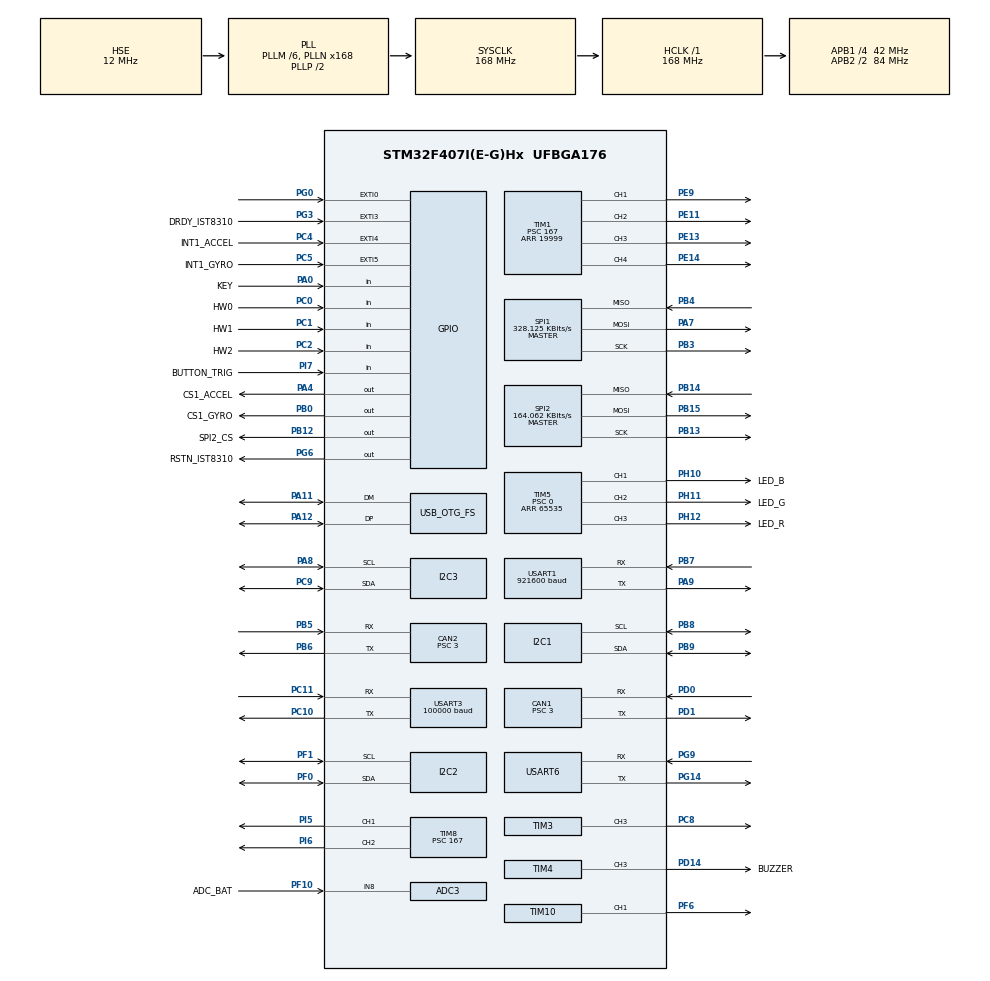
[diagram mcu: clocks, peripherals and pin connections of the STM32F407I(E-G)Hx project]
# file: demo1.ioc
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ADC1.Channel-0\#ChannelRegularConversion=ADC_CHANNEL_TEMPSENSOR
ADC1.ClockPrescaler=ADC_CLOCK_SYNC_PCLK_DIV6
ADC1.NbrOfConversionFlag=1
ADC1.Rank-0\#ChannelRegularConversion=1
ADC1.SamplingTime-0\#ChannelRegularConversion=ADC_SAMPLETIME_3CYCLES
ADC1.master=1
ADC3.Channel-0\#ChannelRegularConversion=ADC_CHANNEL_8
ADC3.ClockPrescaler=ADC_CLOCK_SYNC_PCLK_DIV6
ADC3.NbrOfConversionFlag=1
ADC3.Rank-0\#ChannelRegularConversion=1
ADC3.SamplingTime-0\#ChannelRegularConversion=ADC_SAMPLETIME_3CYCLES
CAN1.BS1=CAN_BS1_10TQ
CAN1.BS2=CAN_BS2_3TQ
CAN1.CalculateBaudRate=1000000
CAN1.CalculateTimeQuantum=71.42857142857143
CAN1.Prescaler=3
CAN2.BS1=CAN_BS1_10TQ
CAN2.BS2=CAN_BS2_3TQ
CAN2.CalculateBaudRate=1000000
CAN2.CalculateTimeQuantum=71.42857142857143
CAN2.Prescaler=3
Dma.I2C2_TX.2.Direction=DMA_MEMORY_TO_PERIPH
Dma.I2C2_TX.2.FIFOMode=DMA_FIFOMODE_DISABLE
Dma.I2C2_TX.2.Instance=DMA1_Stream7
Dma.I2C2_TX.2.MemDataAlignment=DMA_MDATAALIGN_BYTE
Dma.I2C2_TX.2.MemInc=DMA_MINC_ENABLE
Dma.I2C2_TX.2.Mode=DMA_NORMAL
Dma.I2C2_TX.2.PeriphDataAlignment=DMA_PDATAALIGN_BYTE
Dma.I2C2_TX.2.PeriphInc=DMA_PINC_DISABLE
Dma.I2C2_TX.2.Priority=DMA_PRIORITY_HIGH
Dma.Request0=SPI1_RX
Dma.Request1=SPI1_TX
Dma.Request2=I2C2_TX
Dma.Request3=USART3_RX
Dma.Request4=USART6_RX
Dma.Request5=USART6_TX
Dma.Request6=USART1_TX
Dma.Request7=USART1_RX
Dma.SPI1_RX.0.Direction=DMA_PERIPH_TO_MEMORY
Dma.SPI1_RX.0.FIFOMode=DMA_FIFOMODE_DISABLE
Dma.SPI1_RX.0.Instance=DMA2_Stream0
Dma.SPI1_RX.0.MemDataAlignment=DMA_MDATAALIGN_BYTE
Dma.SPI1_RX.0.MemInc=DMA_MINC_ENABLE
Dma.SPI1_RX.0.Mode=DMA_NORMAL
Dma.SPI1_RX.0.PeriphDataAlignment=DMA_PDATAALIGN_BYTE
Dma.SPI1_RX.0.PeriphInc=DMA_PINC_DISABLE
Dma.SPI1_RX.0.Priority=DMA_PRIORITY_VERY_HIGH
Dma.SPI1_TX.1.Direction=DMA_MEMORY_TO_PERIPH
Dma.SPI1_TX.1.FIFOMode=DMA_FIFOMODE_DISABLE
Dma.SPI1_TX.1.Instance=DMA2_Stream3
Dma.SPI1_TX.1.MemDataAlignment=DMA_MDATAALIGN_BYTE
Dma.SPI1_TX.1.MemInc=DMA_MINC_ENABLE
Dma.SPI1_TX.1.Mode=DMA_NORMAL
Dma.SPI1_TX.1.PeriphDataAlignment=DMA_PDATAALIGN_BYTE
Dma.SPI1_TX.1.PeriphInc=DMA_PINC_DISABLE
Dma.SPI1_TX.1.Priority=DMA_PRIORITY_HIGH
Dma.USART1_RX.7.Direction=DMA_PERIPH_TO_MEMORY
Dma.USART1_RX.7.FIFOMode=DMA_FIFOMODE_DISABLE
Dma.USART1_RX.7.Instance=DMA2_Stream2
Dma.USART1_RX.7.MemDataAlignment=DMA_MDATAALIGN_BYTE
Dma.USART1_RX.7.MemInc=DMA_MINC_ENABLE
Dma.USART1_RX.7.Mode=DMA_NORMAL
Dma.USART1_RX.7.PeriphDataAlignment=DMA_PDATAALIGN_BYTE
Dma.USART1_RX.7.PeriphInc=DMA_PINC_DISABLE
Dma.USART1_RX.7.Priority=DMA_PRIORITY_VERY_HIGH
Dma.USART1_TX.6.Direction=DMA_MEMORY_TO_PERIPH
Dma.USART1_TX.6.FIFOMode=DMA_FIFOMODE_DISABLE
Dma.USART1_TX.6.Instance=DMA2_Stream7
Dma.USART1_TX.6.MemDataAlignment=DMA_MDATAALIGN_BYTE
Dma.USART1_TX.6.MemInc=DMA_MINC_ENABLE
Dma.USART1_TX.6.Mode=DMA_NORMAL
Dma.USART1_TX.6.PeriphDataAlignment=DMA_PDATAALIGN_BYTE
Dma.USART1_TX.6.PeriphInc=DMA_PINC_DISABLE
Dma.USART1_TX.6.Priority=DMA_PRIORITY_MEDIUM
Dma.USART3_RX.3.Direction=DMA_PERIPH_TO_MEMORY
Dma.USART3_RX.3.FIFOMode=DMA_FIFOMODE_DISABLE
Dma.USART3_RX.3.Instance=DMA1_Stream1
Dma.USART3_RX.3.MemDataAlignment=DMA_MDATAALIGN_BYTE
Dma.USART3_RX.3.MemInc=DMA_MINC_ENABLE
Dma.USART3_RX.3.Mode=DMA_NORMAL
Dma.USART3_RX.3.PeriphDataAlignment=DMA_PDATAALIGN_BYTE
Dma.USART3_RX.3.PeriphInc=DMA_PINC_DISABLE
Dma.USART3_RX.3.Priority=DMA_PRIORITY_HIGH
Dma.USART6_RX.4.Direction=DMA_PERIPH_TO_MEMORY
Dma.USART6_RX.4.FIFOMode=DMA_FIFOMODE_DISABLE
Dma.USART6_RX.4.Instance=DMA2_Stream1
Dma.USART6_RX.4.MemDataAlignment=DMA_MDATAALIGN_BYTE
Dma.USART6_RX.4.MemInc=DMA_MINC_ENABLE
Dma.USART6_RX.4.Mode=DMA_NORMAL
Dma.USART6_RX.4.PeriphDataAlignment=DMA_PDATAALIGN_BYTE
Dma.USART6_RX.4.PeriphInc=DMA_PINC_DISABLE
Dma.USART6_RX.4.Priority=DMA_PRIORITY_HIGH
Dma.USART6_TX.5.Direction=DMA_MEMORY_TO_PERIPH
Dma.USART6_TX.5.FIFOMode=DMA_FIFOMODE_DISABLE
Dma.USART6_TX.5.Instance=DMA2_Stream6
Dma.USART6_TX.5.MemDataAlignment=DMA_MDATAALIGN_BYTE
Dma.USART6_TX.5.MemInc=DMA_MINC_ENABLE
Dma.USART6_TX.5.Mode=DMA_NORMAL
Dma.USART6_TX.5.PeriphDataAlignment=DMA_PDATAALIGN_BYTE
Dma.USART6_TX.5.PeriphInc=DMA_PINC_DISABLE
Dma.USART6_TX.5.Priority=DMA_PRIORITY_MEDIUM
FREERTOS.INCLUDE_eTaskGetState=1
FREERTOS.INCLUDE_pcTaskGetTaskName=1
FREERTOS.INCLUDE_uxTaskGetStackHighWaterMark=1
FREERTOS.INCLUDE_vTaskCleanUpResources=1
FREERTOS.INCLUDE_vTaskDelayUntil=1
FREERTOS.INCLUDE_xEventGroupSetBitFromISR=1
FREERTOS.INCLUDE_xQueueGetMutexHolder=1
FREERTOS.INCLUDE_xSemaphoreGetMutexHolder=1
FREERTOS.INCLUDE_xTaskAbortDelay=1
FREERTOS.INCLUDE_xTaskGetCurrentTaskHandle=1
FREERTOS.INCLUDE_xTaskGetHandle=1
FREERTOS.INCLUDE_xTimerPendFunctionCall=1
FREERTOS.Tasks01=test,24,128,test_task,As weak,NULL,Dynamic,NULL,NULL
FREERTOS.configTOTAL_HEAP_SIZE=24576
I2C1.I2C_Mode=I2C_Fast
I2C2.I2C_Mode=I2C_Fast
I2C3.I2C_Mode=I2C_Fast
Mcu.Family=STM32F4
Mcu.Name=STM32F407I(E-G)Hx
Mcu.Package=UFBGA176
NVIC.CAN1_RX0_IRQn=true\:6\:0\:true\:false\:true\:true\:true\:true\:true
NVIC.CAN2_RX0_IRQn=true\:6\:0\:true\:false\:true\:true\:true\:true\:true
NVIC.DMA1_Stream1_IRQn=true\:5\:0\:true\:false\:false\:true\:false\:false\:true
NVIC.DMA1_Stream7_IRQn=true\:5\:0\:true\:false\:false\:true\:false\:true\:true
NVIC.DMA2_Stream0_IRQn=true\:5\:0\:false\:false\:true\:true\:false\:true\:true
NVIC.DMA2_Stream1_IRQn=true\:5\:0\:false\:false\:true\:false\:false\:true\:true
NVIC.DMA2_Stream2_IRQn=true\:5\:0\:false\:false\:true\:true\:false\:true\:true
NVIC.DMA2_Stream3_IRQn=true\:5\:0\:true\:false\:false\:true\:false\:true\:true
NVIC.DMA2_Stream6_IRQn=true\:5\:0\:true\:false\:true\:true\:false\:true\:true
NVIC.DMA2_Stream7_IRQn=true\:5\:0\:true\:false\:true\:true\:false\:true\:true
NVIC.EXTI0_IRQn=true\:6\:0\:true\:false\:true\:true\:true\:true\:true
NVIC.EXTI3_IRQn=true\:5\:0\:true\:false\:true\:true\:true\:true\:true
NVIC.EXTI4_IRQn=true\:5\:0\:true\:false\:true\:true\:true\:true\:true
NVIC.EXTI9_5_IRQn=true\:5\:0\:true\:false\:true\:true\:true\:true\:true
NVIC.OTG_FS_IRQn=true\:5\:0\:false\:false\:true\:true\:false\:true\:true
NVIC.PriorityGroup=NVIC_PRIORITYGROUP_4
NVIC.USART1_IRQn=true\:5\:0\:false\:false\:true\:true\:true\:true\:true
NVIC.USART3_IRQn=true\:4\:0\:true\:false\:false\:false\:true\:true\:true
NVIC.USART6_IRQn=true\:5\:0\:true\:false\:false\:true\:true\:true\:true
PA0-WKUP.GPIO_Label=KEY
PA0-WKUP.GPIO_PuPd=GPIO_PULLUP
PA0-WKUP.Signal=GPIO_Input
PA11.Mode=Device_Only
PA11.Signal=USB_OTG_FS_DM
PA12.Mode=Device_Only
PA12.Signal=USB_OTG_FS_DP
PA13.Mode=Serial_Wire
PA13.Signal=SYS_JTMS-SWDIO
PA14.Mode=Serial_Wire
PA14.Signal=SYS_JTCK-SWCLK
PA4.GPIO_Label=CS1_ACCEL
PA4.GPIO_PuPd=GPIO_PULLUP
PA4.GPIO_Speed=GPIO_SPEED_FREQ_HIGH
PA4.PinState=GPIO_PIN_SET
PA4.Signal=GPIO_Output
PA7.GPIO_PuPd=GPIO_PULLUP
PA7.Mode=Full_Duplex_Master
PA7.Signal=SPI1_MOSI
PA8.GPIO_Pu=GPIO_PULLUP
PA8.Mode=I2C
PA8.Signal=I2C3_SCL
PA9.Mode=Asynchronous
PA9.Signal=USART1_TX
PB0.GPIO_Label=CS1_GYRO
PB0.GPIO_PuPd=GPIO_PULLUP
PB0.GPIO_Speed=GPIO_SPEED_FREQ_HIGH
PB0.PinState=GPIO_PIN_SET
PB0.Signal=GPIO_Output
PB12.GPIO_Label=SPI2_CS
PB12.GPIO_PuPd=GPIO_PULLUP
PB12.GPIO_Speed=GPIO_SPEED_FREQ_MEDIUM
PB12.PinState=GPIO_PIN_SET
PB12.Signal=GPIO_Output
PB13.GPIO_PuPd=GPIO_PULLUP
PB13.Mode=Full_Duplex_Master
PB13.Signal=SPI2_SCK
PB14.GPIO_PuPd=GPIO_PULLUP
PB14.Mode=Full_Duplex_Master
PB14.Signal=SPI2_MISO
PB15.GPIO_PuPd=GPIO_PULLUP
PB15.Mode=Full_Duplex_Master
PB15.Signal=SPI2_MOSI
PB3.GPIO_PuPd=GPIO_PULLUP
PB3.Mode=Full_Duplex_Master
PB3.Signal=SPI1_SCK
PB4.GPIO_PuPd=GPIO_PULLUP
PB4.Mode=Full_Duplex_Master
PB4.Signal=SPI1_MISO
PB5.Mode=CAN_Activate
PB5.Signal=CAN2_RX
PB6.Mode=CAN_Activate
PB6.Signal=CAN2_TX
PB7.Mode=Asynchronous
PB7.Signal=USART1_RX
PB8.GPIO_Pu=GPIO_PULLUP
PB8.Mode=I2C
PB8.Signal=I2C1_SCL
PB9.GPIO_Pu=GPIO_PULLUP
PB9.Mode=I2C
PB9.Signal=I2C1_SDA
PC0.GPIO_Label=HW0
PC0.Signal=GPIO_Input
PC1.GPIO_Label=HW1
PC1.Signal=GPIO_Input
PC10.Mode=Asynchronous
PC10.Signal=USART3_TX
PC11.Mode=Asynchronous
PC11.Signal=USART3_RX
PC2.GPIO_Label=HW2
PC2.Signal=GPIO_Input
PC4.GPIO_Label=INT1_ACCEL
PC4.GPIO_ModeDefaultEXTI=GPIO_MODE_IT_FALLING
PC4.GPIO_PuPd=GPIO_PULLUP
PC4.Signal=GPXTI4
PC5.GPIO_Label=INT1_GYRO
PC5.GPIO_ModeDefaultEXTI=GPIO_MODE_IT_FALLING
PC5.GPIO_PuPd=GPIO_PULLUP
PC5.Signal=GPXTI5
PC8.GPIO_PuPd=GPIO_PULLUP
PC8.GPIO_Speed=GPIO_SPEED_FREQ_HIGH
PC8.Signal=S_TIM3_CH3
PC9.GPIO_Pu=GPIO_PULLUP
PC9.Mode=I2C
PC9.Signal=I2C3_SDA
PD0.Mode=CAN_Activate
PD0.Signal=CAN1_RX
PD1.Mode=CAN_Activate
PD1.Signal=CAN1_TX
PD14.GPIO_Label=BUZZER
PD14.GPIO_PuPd=GPIO_PULLUP
PD14.GPIO_Speed=GPIO_SPEED_FREQ_VERY_HIGH
PD14.Signal=S_TIM4_CH3
PE11.GPIO_PuPd=GPIO_PULLUP
PE11.GPIO_Speed=GPIO_SPEED_FREQ_HIGH
PE11.Signal=S_TIM1_CH2
PE13.GPIO_PuPd=GPIO_PULLUP
PE13.GPIO_Speed=GPIO_SPEED_FREQ_HIGH
PE13.Signal=S_TIM1_CH3
PE14.GPIO_PuPd=GPIO_PULLUP
PE14.GPIO_Speed=GPIO_SPEED_FREQ_HIGH
PE14.Signal=S_TIM1_CH4
PE9.GPIO_PuPd=GPIO_PULLUP
PE9.GPIO_Speed=GPIO_SPEED_FREQ_HIGH
PE9.Signal=S_TIM1_CH1
PF0.GPIO_Pu=GPIO_PULLUP
PF0.Mode=I2C
PF0.Signal=I2C2_SDA
PF1.GPIO_Pu=GPIO_PULLUP
PF1.Mode=I2C
PF1.Signal=I2C2_SCL
PF10.GPIO_Label=ADC_BAT
PF10.Mode=IN8
PF10.Signal=ADC3_IN8
PF6.GPIO_PuPd=GPIO_PULLUP
PF6.GPIO_Speed=GPIO_SPEED_FREQ_HIGH
PF6.Signal=S_TIM10_CH1
PG0.GPIO_ModeDefaultEXTI=GPIO_MODE_IT_FALLING
PG0.GPIO_PuPd=GPIO_PULLUP
PG0.Signal=GPXTI0
PG14.Mode=Asynchronous
PG14.Signal=USART6_TX
PG3.GPIO_Label=DRDY_IST8310
PG3.GPIO_ModeDefaultEXTI=GPIO_MODE_IT_FALLING
PG3.GPIO_PuPd=GPIO_PULLUP
PG3.Signal=GPXTI3
PG6.GPIO_Label=RSTN_IST8310
PG6.GPIO_PuPd=GPIO_PULLUP
PG6.GPIO_Speed=GPIO_SPEED_FREQ_MEDIUM
PG6.PinState=GPIO_PIN_SET
PG6.Signal=GPIO_Output
PG9.Mode=Asynchronous
PG9.Signal=USART6_RX
PH0-OSC_IN.Mode=HSE-External-Oscillator
PH0-OSC_IN.Signal=RCC_OSC_IN
PH1-OSC_OUT.Mode=HSE-External-Oscillator
PH1-OSC_OUT.Signal=RCC_OSC_OUT
PH10.GPIO_Label=LED_B
PH10.GPIO_PuPd=GPIO_PULLUP
PH10.GPIO_Speed=GPIO_SPEED_FREQ_HIGH
PH10.Signal=S_TIM5_CH1
PH11.GPIO_Label=LED_G
PH11.GPIO_PuPd=GPIO_PULLUP
PH11.GPIO_Speed=GPIO_SPEED_FREQ_HIGH
PH11.Signal=S_TIM5_CH2
PH12.GPIO_Label=LED_R
PH12.GPIO_PuPd=GPIO_PULLUP
PH12.GPIO_Speed=GPIO_SPEED_FREQ_HIGH
PH12.Signal=S_TIM5_CH3
PI5.GPIO_PuPd=GPIO_PULLUP
PI5.GPIO_Speed=GPIO_SPEED_FREQ_HIGH
PI5.Signal=S_TIM8_CH1
PI6.GPIO_PuPd=GPIO_PULLUP
PI6.GPIO_Speed=GPIO_SPEED_FREQ_HIGH
PI6.Signal=S_TIM8_CH2
PI7.GPIO_Label=BUTTON_TRIG
PI7.GPIO_PuPd=GPIO_PULLUP
PI7.Signal=GPIO_Input
ProjectManager.HeapSize=0x2000
ProjectManager.StackSize=0x2000
ProjectManager.TargetToolchain=STM32CubeIDE
RCC.48MHZClocksFreq_Value=48000000
RCC.AHBFreq_Value=168000000
RCC.APB1CLKDivider=RCC_HCLK_DIV4
RCC.APB1Freq_Value=42000000
RCC.APB1TimFreq_Value=84000000
RCC.APB2CLKDivider=RCC_HCLK_DIV2
RCC.APB2Freq_Value=84000000
RCC.APB2TimFreq_Value=168000000
RCC.CortexFreq_Value=168000000
RCC.HCLKFreq_Value=168000000
RCC.HSE_VALUE=12000000
RCC.HSI_VALUE=16000000
RCC.LSE_VALUE=32768
RCC.PLLM=6
RCC.PLLN=168
RCC.PLLQ=7
RCC.RCC_RTC_Clock_SourceVirtual=RCC_RTCCLKSOURCE_HSE_DIV30
RCC.RCC_RTC_Clock_Source_FROM_HSE=RCC_RTCCLKSOURCE_HSE_DIV30
RCC.SYSCLKFreq_VALUE=168000000
RCC.SYSCLKSource=RCC_SYSCLKSOURCE_PLLCLK
RCC.VCOOutputFreq_Value=336000000
RTC.AsynchPrediv=124
RTC.SynchPrediv=3199
SH.S_TIM10_CH1.0=TIM10_CH1,PWM Generation1 CH1
SH.S_TIM1_CH1.0=TIM1_CH1,PWM Generation1 CH1
SH.S_TIM1_CH2.0=TIM1_CH2,PWM Generation2 CH2
SH.S_TIM1_CH3.0=TIM1_CH3,PWM Generation3 CH3
SH.S_TIM1_CH4.0=TIM1_CH4,PWM Generation4 CH4
SH.S_TIM3_CH3.0=TIM3_CH3,PWM Generation3 CH3
SH.S_TIM4_CH3.0=TIM4_CH3,PWM Generation3 CH3
SH.S_TIM5_CH1.0=TIM5_CH1,PWM Generation1 CH1
SH.S_TIM5_CH2.0=TIM5_CH2,PWM Generation2 CH2
SH.S_TIM5_CH3.0=TIM5_CH3,PWM Generation3 CH3
SH.S_TIM8_CH1.0=TIM8_CH1,PWM Generation1 CH1
SH.S_TIM8_CH2.0=TIM8_CH2,PWM Generation2 CH2
SPI1.BaudRatePrescaler=SPI_BAUDRATEPRESCALER_256
SPI1.CLKPhase=SPI_PHASE_2EDGE
SPI1.CLKPolarity=SPI_POLARITY_HIGH
SPI1.CalculateBaudRate=328.125 KBits/s
SPI1.Direction=SPI_DIRECTION_2LINES
SPI1.Mode=SPI_MODE_MASTER
SPI1.VirtualType=VM_MASTER
SPI2.BaudRatePrescaler=SPI_BAUDRATEPRESCALER_256
SPI2.CLKPhase=SPI_PHASE_2EDGE
SPI2.CLKPolarity=SPI_POLARITY_HIGH
SPI2.CalculateBaudRate=164.062 KBits/s
SPI2.Direction=SPI_DIRECTION_2LINES
SPI2.Mode=SPI_MODE_MASTER
SPI2.VirtualType=VM_MASTER
TIM1.Channel-PWM\ Generation1\ CH1=TIM_CHANNEL_1
TIM1.Channel-PWM\ Generation2\ CH2=TIM_CHANNEL_2
TIM1.Channel-PWM\ Generation3\ CH3=TIM_CHANNEL_3
TIM1.Channel-PWM\ Generation4\ CH4=TIM_CHANNEL_4
TIM1.Period=19999
TIM1.Prescaler=167
TIM1.Pulse-PWM\ Generation1\ CH1=1000
TIM1.Pulse-PWM\ Generation2\ CH2=1000
TIM1.Pulse-PWM\ Generation3\ CH3=1000
TIM1.Pulse-PWM\ Generation4\ CH4=1000
TIM10.Channel=TIM_CHANNEL_1
TIM10.Period=4999
TIM3.Channel-PWM\ Generation3\ CH3=TIM_CHANNEL_3
TIM3.Period=8399
TIM4.Channel-PWM\ Generation3\ CH3=TIM_CHANNEL_3
TIM4.Period=65535
TIM4.Prescaler=167
TIM5.Channel-PWM\ Generation1\ CH1=TIM_CHANNEL_1
TIM5.Channel-PWM\ Generation2\ CH2=TIM_CHANNEL_2
TIM5.Channel-PWM\ Generation3\ CH3=TIM_CHANNEL_3
TIM5.Period=65535
TIM5.Prescaler=0
TIM8.Channel-PWM\ Generation1\ CH1=TIM_CHANNEL_1
TIM8.Channel-PWM\ Generation2\ CH2=TIM_CHANNEL_2
TIM8.Period=19999
TIM8.Prescaler=167
TIM8.Pulse-PWM\ Generation1\ CH1=200
TIM8.Pulse-PWM\ Generation2\ CH2=1000
USART1.BaudRate=921600
USART1.VirtualMode=VM_ASYNC
USART3.BaudRate=100000
USART3.Parity=PARITY_EVEN
USART3.VirtualMode=VM_ASYNC
USART6.VirtualMode=VM_ASYNC
USB_DEVICE.CLASS_NAME_FS=CDC
USB_DEVICE.VirtualMode-CDC_FS=Cdc
USB_DEVICE.VirtualModeFS=Cdc_FS
USB_OTG_FS.VirtualMode=Device_Only
VP_ADC1_TempSens_Input.Mode=IN-TempSens
VP_ADC1_Vref_Input.Mode=IN-Vrefint
VP_CRC_VS_CRC.Mode=CRC_Activate
VP_FREERTOS_VS_CMSIS_V1.Mode=CMSIS_V1
VP_RNG_VS_RNG.Mode=RNG_Activate
VP_RTC_VS_RTC_Activate.Mode=RTC_Enabled
VP_TIM10_VS_ClockSourceINT.Mode=Enable_Timer
VP_TIM1_VS_ClockSourceINT.Mode=Internal
VP_TIM3_VS_ClockSourceINT.Mode=Internal
VP_TIM4_VS_ClockSourceINT.Mode=Internal
VP_TIM5_VS_ClockSourceINT.Mode=Internal
VP_TIM8_VS_ClockSourceINT.Mode=Internal
VP_USB_DEVICE_VS_USB_DEVICE_CDC_FS.Mode=CDC_FS
board=custom

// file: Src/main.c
/* USER CODE BEGIN Header */

//%%88888888888888888888888888888888888888888888888888888888888888888888888888888%%%%%%%%%%%%%%%%%%%%%%%%%%%%%%%%%%%
//%%BBBBBBBBBBBBBBBBBBBBBBBBBBBBBBBBBBBBBBBBBBBBBBBBBBBBBBBBBBBBBBBBBBBBBBB%%%%%%%%%%%%%%%%%%%%%%%%%%%%%%%%%%%%%%%%%
//%%%%%%%%%%%%%%%%%%%%%%%%%%%%%%%%%%%%%%%%%%%%%%%%%%%%%%8%&%BB%B%8%%%%%%%%%%%%%%%%%%%%%%%%%%%%%%%%%%%%%%%%%%%%%%%%%%
//%%%%%%%%%%%%%%%%%%%%%%%%%%%%%%%%%%%%%%%%%%%%%%%%%%%%%%%i. .  `iJ8B8B%%%%%%%%%%%%%%%%%%%%%%%%%%%%%%%%%%%%%%%%%%%%%%
//%%%%%%%%%%%%%%%%%%%%%%%%%%%%%%%%%%%%%%%%%%%%%%%%%B8%%Bw''.  '.''`q%%%%%%%%%%%%%%%%%%%%%%%%%%%%%%%%%%%%%%%%%%%%%%%%
//%%%%%%%%%%%%%%%%%%%%%%%%%%%%%%%%%%%%%%%%%%%%%%%%%%%BB].. .......'.w$%%%%%%%%%%%%%%%%%%%%%%%%%%%%%%%%%%%%%%%%%%%%%%
//%%%%%%%%%%%%%%%%%%%%%%%%%%%%%%%%%%%%%%%%%%%%%%%%%%BBm^'.........`+B8B%%%%%%%%%%%%%%%%%%%%%%%%%%%%%%%%%%%%%%%%%%%%%
//%%%%%%%%%%%%%%%%%%%%%%%%%%%%%%%%%%%%%%%%%%%%%%%%%%88' .........."B%BB%%%%%%%%%%%%%%%%%%%%%%%%%%%%%%%%%%%%%%%%%%%%%
//%%%%%%%%%%%%%%%%%%%%%%%%%%%%%%%%%%%%%%%%%%%%%%%%%8Bf .........'.0&88%%%%%%%%%%%%%%%%%%%%%%%%%%%%%%%%%%%%%%%%%%%%%%
//%%%%%%%%%%%%%%%%%%%%%%%%%%B&@8B%8%%%%%%%%%%%%BB8%%w  ........`]CB%%%%%%%%%%%%%%%%%%%%%%%%%%%%%%%%%%%%%%%%%%%%%%%%%
//%%%%%%%%%%%%%%%%%%%%%%%%%%BW@%B%8%%%%%%%%%%%%%%%@~  . .......^88%%%%%%%%%%%%%%%%%%%%%%%%%%%%%%%%%%%%%%%%%%%%%%%%%%
//%%%%%%%%%%%%%%%%%%%%%BB%8%%8#>d8%%$%8%%%%%%%B8%%b. ........  #8%%%%%8%%}}C,UWW%%%%%%%%%%%%%%%%%%%%%%%%%%%%%%%%%%%%
//%%%%%%%%%%%%%%%%%%%%%W&%pl` ''''`[LB%%BZq-x{Z@BJ   ..... ..lJ%%B}C}W%W*`...... ]8$%%%%B%%%%%%%%%%%%%%%%%%%%%%%%%%%
//%%%%%%%%%%%%%%%%%%%%%O`'`'.    . '  '.'^ ?%%B%b:. ...... ..&@%%B~.... .. .....^` `w#&%%%%%%%%%%%%%%%%%%%%%%%%%%%%%
//%%%%%%%%%%%%%%%%%%%%%%W`.'..'    ... .'.X{BB%L..   ...  ..O%8BBz..            ..:C%%%%%%%%%%%%%%%%%%%%%%%%%%%%%%%%
//%%%%%%%%%%%%%%%%%%%%%%BB_'......... ' `w@%B%B`  `......`Ib@%%&%JI .           ..QBB%%%%%%%%%%%%%%%%%%%%%%%%%%%%%%%
//%%%%%%%%%%%%%%%%%%%%%%J' ..... '. Ih@#BB%%{a'  .......'"&}BBBBBBB%B%%hu '.    . ''Q$&%B%%%%%%%%%%%%%%%%%%%%%%%%%%%
//%%%%%%%%B%%%%%%%8%8%b^''..' . "+{WW8%%%%&%J       .....0@BBBBBBB%%%%BB%B$w .'.     'h8%%%%B%%%B%%%%%%%%%%%%%%%%%%%
//%%%%%%%%%@^ .'''"..''.''.'.''M%#8B%%%%%%8M`'..     ...h%BBBBB%%%%%%%BBB%BB%C[`   .. '','''.'` B%%%%%%%%%%%%%%%%%%%
//%%%%%%%%Bj`    .'. '......^B%B%%%%%%%%%%k"'.'       ,M@BBB&%%BBBB8%&ZUYhaw#%&W'`  ...........' 8%%%%%%%%%%%%%%%%%%
//%%%%%%%8L``'.   '    . ^`?@%%8%%%%%%B%8L` '        ''.'...'...........'..z@BB@BL.'...        .`_Z%%%%%%%%%%%%%%%%%
//%%%%%%%m;`''''''......."&8%%8%%%%%%%%B%` .       . . .'.  .......    '.'C%%BB%B&J'         ..'':_%@%%%%%%%%%%%%%%%
//%%%%%%%%B%%%%%o ..... .v%B%%%%%%%%%BB%'^..                          .''J&88%%%B%8t.....   0&@88%8%%%%%%%%%%%%%%%%%
//%%%%%%%%%%%%%%f      .'$B%%%%%%%%%%8Q+'. . ... '''..    '`^.`.        a8&8%8%%%%B$`.......kB%%888%%%%%%%%%%%%%%%%%
//%%%%%%%%%%%%%%+'      ^B%%%%%%%%8%%&.'  . '';Y%%%8%BB%BBBBb  . . .   08BB88%%%%%%}'.     .n%88888%%%%%%%%%%%%%%%%%
//%%%%%%%%%%%%B8h^      'MB8%%%%%%%8%:.   ......^u&%%B%%BB&h       '.'q%8%%%%%%%%%BZ'.   . .bB88888%%%%%%%%%%%%%%%%%
//%%%%%%%W%$MQh:..     .._B%%%%%%%B#j       .  .U%%88888BB!..    ... v%8%%%%%%%%%%Bl     .'''nw&W@$%%%%%%%%%%%%%%%%%
//%%%%%%%#+''.''`'''... . *$%%%%%%W''        . zB%%%8888B<'`    ....J&8%%%%%%%%%BBw.      ...'.',.b%%%%%%%%%%%%%%%%%
//%%%%%%%B8l.............'."O@%%8W^.  ..     :u&%&%B%%%p' '''..   .bBW%%%%%%%%%%C+.'     ....... %W%%%%%%%%%%%%%%%%%
//%%%%%%%%%&..'.''. `  ..''' n&%QnkhJM&8B@BBB%%88%8888q...        o%88%%%%%%%&%]`.. ...  .  .  'M&%%%%%%%%%%%%%%%%%%
//%%%%%%%B%@ZadJLO888h`'''..   ;%@8%BB%%8&8%%888888%%Q'..       '+&8%%%%%%%W@l. .. .'''C%BW0Xkkq%%%%%%%%%%%%%%%%%%%%
//%%%%%%%%%%%%B%%B%8%BWQ '.''''' `>{BW%%B8%%%%%8888BZ`'.     . 'q88%BB%B8B!^. ..'... [&%%BBB%%%%%%%%%%%%%%%%%%%%%%%%
//%%%%%%%%%%%%%%B%8%%8%%Bk .'''''`.^`'xY8%%%%%%%%%8f ^       . r$8%%&Bt`^   .. ... Y@&88%%%%8%%%%%%%%%%%%%%%%%%%%%%%
//%%%%%%%%%%%B%%%%B%8B%8%Wl^'.. ......  ''',[J&%8Bv` .       .,%8%_.`' .....   . 'Z&88%%%%%%%%%%%%%%%%%%%%%%%%%%%%%%
//%%B%%%%%%%%%%%%%%%%%%@k'`''........ .   . +B%%X!.        ..b}%al    '... .    '.`tBB8%%%%%%%%%%%%%%%%%%%%%%%%%%%%%
//%%%%%%%%%%%%%%%%%%%8B{~''`'........:j,'.']BBBJ. .     ..  v%@q ^  '``... .     '.'L8%%%%%%%%%%%%%%%%%%%%%%%%%%%%%%
//%%%%%%%%%%%%%%%%%%%%%@%&BQ` ''  ,#%B%8BB&8B&0' .      ..'<&8&888%88&%%Bu     'w#$%8%%%%%%%%%%%%%%%%%%%%%%%%%%%%%%%
//%%%%%%B%%%%%%%%%%%%%%%%%%%88WkMB8%%%%%%%%%%f'          .b%8%%%%%%%%%%%%8%@mW@B%%%%%%%%%%%%%%%%%%%%%%%%%%%%%%%%%%%%
//%%%%%%%%%%%%%%%%%%%%%%%%%%8B%%%B%%8%%%%%B%x`.        . -B8%%%%%%%%%%%B&8%%%%%B%%%%%%%%%%%%%%%%%%%%%%%%%%%%%%%%%%%%
//%%%%%%B%%%%%%%%%%%%%%%%%%%%%%%%%%%%%%%%%#z'`.      .' .B&B8%%%%%%%%%%%%%%%%%%%%%%%%%%%%%%%%%%%%%%%%%%%%%%%%%%%%%%%
//B%%%%%%%%%%%%%%%%%%%%%%%%%%%%%%%%%%%8B@M` ..      . ^nOB%%%%%%%%%%%%%%%%%%%%%%%%%%%%%%%%%%%%%%%%%%%%%%%%%%%%%%%%%%
//%%%%%%%%%%%%%%%%%%%%%%%%%%%%%%%%%%%%%%C'.. .     ..']%B%%%8%%%%%%%%%%%%%%%%%%%%%%%%%%%%%%%%%%%%%%%%%%%%%%%%%%%%%%%
//%%%%%%%%%%%%%%%%%%%%%%%%%%%%%%%%%%%BB#....        ' BB%%%%%%%%%%%%%%%%%%%%%%%%%%%%%%%%%%%%%%%%%%%%%%%%%%%%%%%%%%%%
//%%%%%%%%%%%%%%%%%%%%%%%%%%%%%%%%%%%%%Bq .   .    ' Q%BB%%%%%%%%%%%%%%%%%%%%%%%%%%%%%%%%%%%%%%%%%%%%%%%%%%%%%%%%%%%
//%%%%%%%%%%%%%%%%%%%%%%%%%%%%%%%%%%%88888] .^^.   "p@B%%%%%%%%%%%%%%%%%%%%%%%%%%%%%%%%%%%%%%%%%%%%%%%%%%%%%%%%%%%%%
//%%%%%%%%%%%%%%%%%%%%%%%%%%%%%%%%%%%%B%%B%$d'"  ^.&BB8%%%%%%%%%%%%%%%%%%%%%%%%%%%%%%%%%%%%%%%%%%%%%%%%%%%%%%%%%%%%%
//%%%%%%%%%%%%%%%%%%%%%%%%%%%%%%%%%%%%%%%%BB%8M '^hB%8%88%%%%%%%%%%%%%%%%%%%%%%%%%%%%%%%%%%%%%%%%%%%%%%%%%%%%%%%%%%%
//%%%%%%%%%%%%%%%%%%%%%%%%%%%%%%%%%%%%%%%%B88%%%%W&%%%%%%%%%%%%%%%%%%%%%%%%%%%%%%%%%%%%%%%%%%%%%%%%%%%%%%%%%%%%%%%%%
//%%%%%%%%%%%%%%%%%%%%%%%%%%%%%%%%%%%%%%%%%%%%%%%%%%%%%%%%%%%%%%%%%%%%%%%%%%%%%%%%%%%%%%%%%%%%%%%%%%%%%%%%%%%%%%%%%%
//%%%%%%%%%%%%%%%%%%%%%%%%%%%%%%%%%%%%%%%%%%%%%%%%%%%%%%%%%%%%%%%%%%%%%%%%%%%%%%%%%%%%%%%%%%%%%%%%%%%%%%%%%%%%%%%%%%

/* USER CODE END Header */
#include "main.h"
#include "cmsis_os.h"
#include "adc.h"
#include "can.h"
#include "crc.h"
#include "dma.h"
#include "i2c.h"
#include "rng.h"
#include "rtc.h"
#include "spi.h"
#include "tim.h"
#include "usart.h"
#include "usb_device.h"
#include "gpio.h"

/* USER CODE BEGIN Includes */
#include "bsp_can.h"
#include "bsp_delay.h"
#include "bsp_usart.h"
#include "remote.h"
#include "referee.h"
#include "bsp_laser.h"
#include "Auto.h"
//#include "remote_control.h"
//
#include "Calibrate.h"
//#include "chassis_task.h"
//#include "detect_task.h"
//#include "gimbal_task.h"
//#include "INS_task.h"
//#include "led_flow_task.h"
//#include "oled_task.h"
//#include "referee_usart_task.h"
#include "usb_task.h"
#include "usbd_cdc_if.h"
#include "usb_device.h"
//#include "voltage_task.h"
/* USER CODE END Includes */

/* USER CODE BEGIN PTD */
extern uint8_t usart1_receive_buf[14];
/* USER CODE END PTD */

void SystemClock_Config(void);
void MX_FREERTOS_Init(void);

/* USER CODE BEGIN 0 */
void USB_Status_Init(void)
{
    GPIO_InitTypeDef GPIO_InitStruct = {0};
    __HAL_RCC_GPIOA_CLK_ENABLE();

    HAL_GPIO_WritePin(GPIOA,GPIO_PIN_12,GPIO_PIN_RESET);

    GPIO_InitStruct.Pin = GPIO_PIN_12;
    GPIO_InitStruct.Mode = GPIO_MODE_OUTPUT_PP;
    GPIO_InitStruct.Pull = GPIO_PULLDOWN;
    GPIO_InitStruct.Speed = GPIO_SPEED_FREQ_LOW;
    HAL_GPIO_Init(GPIOA, &GPIO_InitStruct);

    HAL_GPIO_WritePin(GPIOA,GPIO_PIN_12,GPIO_PIN_RESET);
    HAL_Delay(100);
    HAL_GPIO_WritePin(GPIOA,GPIO_PIN_12,GPIO_PIN_SET);
    HAL_Delay (100);
}
/* USER CODE END 0 */

int main(void)
{

  /* MCU Configuration--------------------------------------------------------*/

  /* Reset of all peripherals, Initializes the Flash interface and the Systick. */
  HAL_Init();

  /* Configure the system clock */
  SystemClock_Config();

  /* USER CODE BEGIN SysInit */
  //USB_Status_Init();
  /* USER CODE END SysInit */

  /* Initialize all configured peripherals */
  MX_GPIO_Init();
  MX_DMA_Init();
  MX_ADC1_Init();
  MX_ADC3_Init();
  MX_CAN1_Init();
  MX_CAN2_Init();
  MX_I2C1_Init();
  MX_SPI1_Init();
  MX_TIM4_Init();
  MX_TIM5_Init();
  MX_USART3_UART_Init();
  MX_TIM8_Init();
  MX_CRC_Init();
  MX_RNG_Init();
  MX_I2C2_Init();
  MX_I2C3_Init();
  MX_RTC_Init();
  MX_SPI2_Init();
  MX_TIM1_Init();
  MX_TIM3_Init();
  MX_TIM10_Init();
  MX_USART1_UART_Init();
  MX_USART6_UART_Init();
  /* USER CODE BEGIN 2 */
    can_filter_init();
    delay_init();
    usart6_init(&usart6_buf[0], REFEREE_BUFFER_SIZE);
    usart1_init(&usart1_receive_buf[0],200);
    cali_param_init();
    remote_control_init();
    laser_on();
//    usart1_tx_dma_init();
  /* USER CODE END 2 */

  /* Call init function for freertos objects (in cmsis_os2.c) */
  MX_FREERTOS_Init();

  /* Start scheduler */
  osKernelStart();

  /* We should never get here as control is now taken by the scheduler */

  /* Infinite loop */
  while (1)
  {

  }
}

void SystemClock_Config(void)
{
  RCC_OscInitTypeDef RCC_OscInitStruct = {0};
  RCC_ClkInitTypeDef RCC_ClkInitStruct = {0};

  /** Configure the main internal regulator output voltage
  */
  __HAL_RCC_PWR_CLK_ENABLE();
  __HAL_PWR_VOLTAGESCALING_CONFIG(PWR_REGULATOR_VOLTAGE_SCALE1);

  /** Initializes the RCC Oscillators according to the specified parameters
  * in the RCC_OscInitTypeDef structure.
  */
  RCC_OscInitStruct.OscillatorType = RCC_OSCILLATORTYPE_HSE;
  RCC_OscInitStruct.HSEState = RCC_HSE_ON;
  RCC_OscInitStruct.PLL.PLLState = RCC_PLL_ON;
  RCC_OscInitStruct.PLL.PLLSource = RCC_PLLSOURCE_HSE;
  RCC_OscInitStruct.PLL.PLLM = 6;
  RCC_OscInitStruct.PLL.PLLN = 168;
  RCC_OscInitStruct.PLL.PLLP = RCC_PLLP_DIV2;
  RCC_OscInitStruct.PLL.PLLQ = 7;
  if (HAL_RCC_OscConfig(&RCC_OscInitStruct) != HAL_OK)
  {
    Error_Handler();
  }

  /** Initializes the CPU, AHB and APB buses clocks
  */
  RCC_ClkInitStruct.ClockType = RCC_CLOCKTYPE_HCLK|RCC_CLOCKTYPE_SYSCLK
                              |RCC_CLOCKTYPE_PCLK1|RCC_CLOCKTYPE_PCLK2;
  RCC_ClkInitStruct.SYSCLKSource = RCC_SYSCLKSOURCE_PLLCLK;
  RCC_ClkInitStruct.AHBCLKDivider = RCC_SYSCLK_DIV1;
  RCC_ClkInitStruct.APB1CLKDivider = RCC_HCLK_DIV4;
  RCC_ClkInitStruct.APB2CLKDivider = RCC_HCLK_DIV2;

  if (HAL_RCC_ClockConfig(&RCC_ClkInitStruct, FLASH_LATENCY_5) != HAL_OK)
  {
    Error_Handler();
  }
}

void Error_Handler(void)
{
}

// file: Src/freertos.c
/* USER CODE BEGIN Header */
/**
  ******************************************************************************
  * File Name          : freertos.c
  * Description        : Code for freertos applications
  ******************************************************************************
  * @attention
  *
  * <h2><center>&copy; Copyright (c) 2019 STMicroelectronics.
  * All rights reserved.</center></h2>
  *
  * This software component is licensed by ST under Ultimate Liberty license
  * SLA0044, the "License"; You may not use this file except in compliance with
  * the License. You may obtain a copy of the License at:
  *                             www.st.com/SLA0044
  *
  ******************************************************************************
  */
/* USER CODE END Header */

#include "FreeRTOS.h"
#include "task.h"
#include "main.h"
#include "cmsis_os.h"

/* USER CODE BEGIN Includes */
#include "Atti.h"
#include "Calibrate.h"
#include "chassis.h"
#include "Gimbal.h"
#include "dart.h"
#include "lali.h"
#include "Auto.h"
//#include "detect_task.h"
#include "Gimbal.h"
//#include "INS_task.h"
//#include "led_flow_task.h"
//#include "oled_task.h"
#include "referee.h"
#include "test.h"
//#include "usb_task.h"
//#include "voltage_task.h"
//#include "servo_task.h"
//#include "remote.h"
/* USER CODE END Includes */

/* USER CODE BEGIN PTD */

osThreadId calibrate_tast_handle;
osThreadId chassisTaskHandle;
osThreadId detect_handle;
osThreadId gimbalTaskHandle;
osThreadId imuTaskHandle;
osThreadId led_RGB_flow_handle;
osThreadId oled_handle;
osThreadId refereeTaskHandle;
osThreadId usb_task_handle;
osThreadId battery_voltage_handle;
osThreadId servo_task_handle;
osThreadId UI_task_handle;
osThreadId usb_task_handle;
osThreadId decode_task_handle;
osThreadId dartTaskHandle;
osThreadId laliTaskHandle;
osThreadId AutoTaskHandle;
/* USER CODE END PTD */

/* USER CODE BEGIN Variables */
//extern RC_ctrl_t rc_ctrl;
/* USER CODE END Variables */
osThreadId testHandle;

void test_task(void const * argument);

extern void MX_USB_DEVICE_Init(void);
void MX_FREERTOS_Init(void); /* (MISRA C 2004 rule 8.1) */

/* GetIdleTaskMemory prototype (linked to static allocation support) */
void vApplicationGetIdleTaskMemory( StaticTask_t **ppxIdleTaskTCBBuffer, StackType_t **ppxIdleTaskStackBuffer, uint32_t *pulIdleTaskStackSize );

/* GetTimerTaskMemory prototype (linked to static allocation support) */
void vApplicationGetTimerTaskMemory( StaticTask_t **ppxTimerTaskTCBBuffer, StackType_t **ppxTimerTaskStackBuffer, uint32_t *pulTimerTaskStackSize );

/* USER CODE BEGIN GET_IDLE_TASK_MEMORY */
static StaticTask_t xIdleTaskTCBBuffer;
static StackType_t xIdleStack[configMINIMAL_STACK_SIZE];

void vApplicationGetIdleTaskMemory( StaticTask_t **ppxIdleTaskTCBBuffer, StackType_t **ppxIdleTaskStackBuffer, uint32_t *pulIdleTaskStackSize )
{
  *ppxIdleTaskTCBBuffer = &xIdleTaskTCBBuffer;
  *ppxIdleTaskStackBuffer = &xIdleStack[0];
  *pulIdleTaskStackSize = configMINIMAL_STACK_SIZE;
  /* place for user code */
}
/* USER CODE END GET_IDLE_TASK_MEMORY */

/* USER CODE BEGIN GET_TIMER_TASK_MEMORY */
static StaticTask_t xTimerTaskTCBBuffer;
static StackType_t xTimerStack[configTIMER_TASK_STACK_DEPTH];

void vApplicationGetTimerTaskMemory( StaticTask_t **ppxTimerTaskTCBBuffer, StackType_t **ppxTimerTaskStackBuffer, uint32_t *pulTimerTaskStackSize )
{
  *ppxTimerTaskTCBBuffer = &xTimerTaskTCBBuffer;
  *ppxTimerTaskStackBuffer = &xTimerStack[0];
  *pulTimerTaskStackSize = configTIMER_TASK_STACK_DEPTH;
  /* place for user code */
}
QueueHandle_t CDC_send_queue;

_Noreturn extern void usb_task(void const * argument);
extern void decode_task(void const * arg);
/* USER CODE END GET_TIMER_TASK_MEMORY */

void MX_FREERTOS_Init(void) {

  /* Create the thread(s) */
  /* definition and creation of test */
  osThreadDef(test, test_task, osPriorityNormal, 0, 128);
  testHandle = osThreadCreate(osThread(test), NULL);

  /* USER CODE BEGIN RTOS_THREADS */
  /* add threads, ... */
    osThreadDef(cali, calibrate_task, osPriorityNormal, 0, 512);
    calibrate_tast_handle = osThreadCreate(osThread(cali), NULL);

//    osThreadDef(ChassisTask, chassis_task, osPriorityAboveNormal, 0, 512);
//    chassisTaskHandle = osThreadCreate(osThread(ChassisTask), NULL);

    osThreadDef(UIPaintTask, UI_paint_task,osPriorityNormal,0,256);
    UI_task_handle= osThreadCreate(osThread(UIPaintTask),NULL);

//    osThreadDef(gimbalTask, gimbal_task, osPriorityHigh, 0, 512);
//    gimbalTaskHandle = osThreadCreate(osThread(gimbalTask), NULL);

//    osThreadDef(imuTask, INS_task, osPriorityRealtime, 0, 1024);
//    imuTaskHandle = osThreadCreate(osThread(imuTask), NULL);

    osThreadDef(dartTask, dart_task, osPriorityRealtime, 0, 512);
    dartTaskHandle = osThreadCreate(osThread(dartTask), NULL);

//    osThreadDef(AutoTask, Auto_task, osPriorityHigh, 0, 512);
//    AutoTaskHandle = osThreadCreate(osThread(AutoTask), NULL);

//    osThreadDef(laliTask, lali_task, osPriorityHigh, 0, 512);
//    laliTaskHandle = osThreadCreate(osThread(laliTask), NULL);

//    osThreadDef(refereeTask,referee_task,osPriorityHigh,0,256);
//    refereeTaskHandle = osThreadCreate(osThread(refereeTask), NULL);

//    osThreadDef(REFEREE, referee_usart_task, osPriorityNormal, 0, 128);
//    referee_usart_task_handle = osThreadCreate(osThread(REFEREE), NULL);

//    osThreadDef(SERVO, servo_task, osPriorityNormal, 0, 128);
//    servo_task_handle = osThreadCreate(osThread(SERVO), NULL);
    osThreadDef(USBtask,usb_task,osPriorityHigh,0,128);
    usb_task_handle= osThreadCreate(osThread(USBtask),NULL);
    osThreadDef(DecodeTask, decode_task, osPriorityHigh, 0, 128);
    decode_task_handle = osThreadCreate(osThread(DecodeTask), NULL);
    CDC_send_queue = xQueueCreate(1, 128);

  /* USER CODE END RTOS_THREADS */

}

__weak void test_task(void const * argument)
{
  /* init code for USB_DEVICE */
  MX_USB_DEVICE_Init();
  /* USER CODE BEGIN test_task */
  /* Infinite loop */
  for(;;)
  {
      osDelay(10);
  }
  /* USER CODE END test_task */
}
